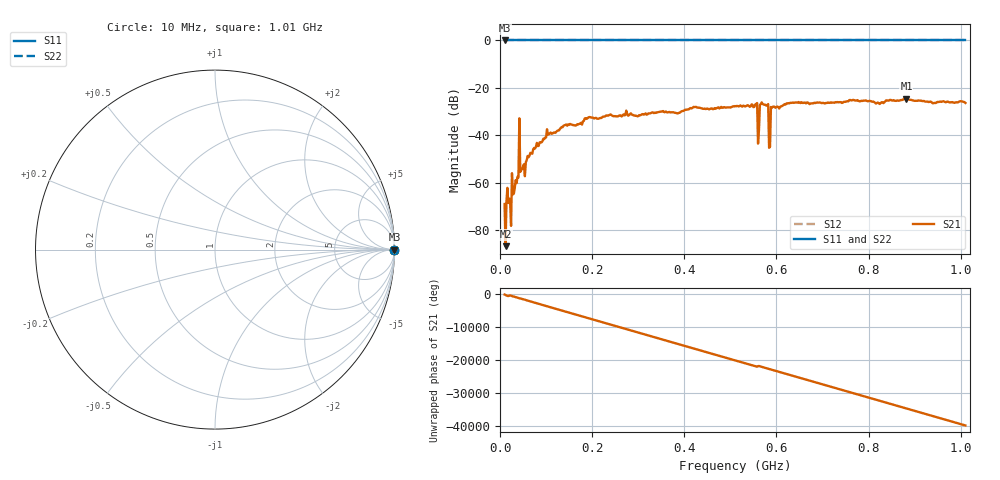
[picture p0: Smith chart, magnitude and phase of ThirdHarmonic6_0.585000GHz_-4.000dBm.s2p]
! 8/15/2025 6:55:40 PM
! C:\ANRITSUVNA\TEMP\TEMP.S2P
! CHANNEL.1
! TR.MEASUREMENT
! RAW.DATA
! RF.CORRECTION.OFF
! AVERAGING.OFF
! IF.BANDWIDTH: 5KHZ
! SWEEPTYPE:  FREQ.SWEEP(Linear)
! Reference Plane Port Info
! PORT:  PORT1  PORT2
! DISTANCE:  0  m  0  m
! TIME:  0  s  0  s
! PHASE.OFFSET:  0  deg.  0  deg.
! LOSS:  0  dB  0  dB
! REF.LOSS:  0  dB  0  dB
! REF.FREQ:  0  Hz  0  Hz
! Power Info
! POWER:  -20  dBm  -20  dBm
! EFF.POWER:  -20  dBm  -20  dBm
! SOURCE.ATTEN:  0  dB  0  dB
! TEST.ATTEN:  0  dB  0  dB
# GHZ S RI R 50.0
! FREQ.GHZ  S11RE  S11IM  S21RE  S21IM  S12RE  S12IM  S22RE  S22IM
!; PortSelection: Port_12
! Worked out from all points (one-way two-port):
!   501 points, 10 MHz to 1.01 GHz, reference 50 ohm
!   highest |S21| = -24.65 dB at 882 MHz (marker M1); lowest = -86.9 dB at 12 MHz (marker M2)
!   lowest |S11| = 0.0 dB at 10 MHz (marker M3)
!   |S11| at or under -10 dB: nowhere
!   |S22| runs from 0.0 to 0.0 dB; largest |S21 - S12| = 1.1
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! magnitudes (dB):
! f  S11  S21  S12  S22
! 10 MHz  0.0  -69.1  0.0  0.0
! 12 MHz  0.0  -86.9  0.0  0.0
! 26 MHz  0.0  -56.1  0.0  0.0
! 36 MHz  0.0  -60.3  0.0  0.0
! 38 MHz  0.0  -57.5  0.0  0.0
! 46 MHz  0.0  -54.7  0.0  0.0
! 50 MHz  0.0  -53.2  0.0  0.0
! 106 MHz  0.0  -39.6  0.0  0.0
! 178 MHz  0.0  -35.6  0.0  0.0
! 344 MHz  0.0  -30.3  0.0  0.0
! 510 MHz  0.0  -27.7  0.0  0.0
! 554 MHz  0.0  -27.1  0.0  0.0
! 562 MHz  0.0  -37.8  0.0  0.0
! 568 MHz  0.0  -26.2  0.0  0.0
! 578 MHz  0.0  -27.6  0.0  0.0
! 582 MHz  0.0  -26.9  0.0  0.0
! 588 MHz  0.0  -28.1  0.0  0.0
! 592 MHz  0.0  -28.0  0.0  0.0
! 678 MHz  0.0  -26.6  0.0  0.0
! 844 MHz  0.0  -25.4  0.0  0.0
! 882 MHz  0.0  -24.6  0.0  0.0
! 1.01 GHz  0.0  -26.4  0.0  0.0
